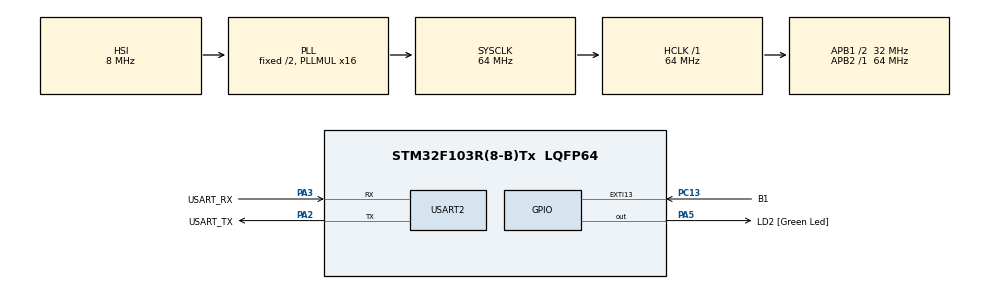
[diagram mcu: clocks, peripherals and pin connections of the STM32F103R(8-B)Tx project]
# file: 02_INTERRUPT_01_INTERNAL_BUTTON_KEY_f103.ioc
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Mcu.Family=STM32F1
Mcu.Name=STM32F103R(8-B)Tx
Mcu.Package=LQFP64
NVIC.EXTI15_10_IRQn=true\:0\:0\:false\:false\:true\:true\:true\:true
NVIC.PriorityGroup=NVIC_PRIORITYGROUP_4
PA13.GPIO_Label=TMS
PA13.Mode=Serial_Wire
PA13.Signal=SYS_JTMS-SWDIO
PA14.GPIO_Label=TCK
PA14.Mode=Serial_Wire
PA14.Signal=SYS_JTCK-SWCLK
PA2.GPIO_Label=USART_TX
PA2.GPIO_Mode=GPIO_MODE_AF_PP
PA2.GPIO_PuPd=GPIO_NOPULL
PA2.GPIO_Speed=GPIO_SPEED_FREQ_LOW
PA2.Mode=Asynchronous
PA2.Signal=USART2_TX
PA3.GPIO_Label=USART_RX
PA3.GPIO_Mode=GPIO_MODE_AF_PP
PA3.GPIO_PuPd=GPIO_NOPULL
PA3.GPIO_Speed=GPIO_SPEED_FREQ_LOW
PA3.Mode=Asynchronous
PA3.Signal=USART2_RX
PA5.GPIO_Label=LD2 [Green Led]
PA5.GPIO_ModeDefaultOutputPP=GPIO_MODE_OUTPUT_PP
PA5.GPIO_PuPd=GPIO_NOPULL
PA5.GPIO_Speed=GPIO_SPEED_FREQ_LOW
PA5.Signal=GPIO_Output
PB3.GPIO_Label=SWO
PB3.Signal=SYS_JTDO-TRACESWO
PC13-TAMPER-RTC.GPIO_Label=B1
PC13-TAMPER-RTC.Signal=GPXTI13
PC14-OSC32_IN.Mode=LSE-External-Oscillator
PC14-OSC32_IN.Signal=RCC_OSC32_IN
PC15-OSC32_OUT.Mode=LSE-External-Oscillator
PC15-OSC32_OUT.Signal=RCC_OSC32_OUT
PD0-OSC_IN.Mode=HSE-External-Clock-Source
PD0-OSC_IN.Signal=RCC_OSC_IN
PD1-OSC_OUT.Mode=HSE-External-Clock-Source
PD1-OSC_OUT.Signal=RCC_OSC_OUT
ProjectManager.HeapSize=0x200
ProjectManager.StackSize=0x400
ProjectManager.TargetToolchain=STM32CubeIDE
RCC.AHBFreq_Value=64000000
RCC.APB1CLKDivider=RCC_HCLK_DIV2
RCC.APB1Freq_Value=32000000
RCC.APB1TimFreq_Value=64000000
RCC.APB2Freq_Value=64000000
RCC.APB2TimFreq_Value=64000000
RCC.HCLKFreq_Value=64000000
RCC.PLLMUL=RCC_PLL_MUL16
RCC.RTCClockSelection=RCC_RTCCLKSOURCE_LSE
RCC.SYSCLKFreq_VALUE=64000000
RCC.SYSCLKSource=RCC_SYSCLKSOURCE_PLLCLK
RCC.USBFreq_Value=64000000
USART2.VirtualMode=VM_ASYNC
board=NUCLEO-F103RB

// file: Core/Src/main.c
/* USER CODE BEGIN Header */
/**
  ******************************************************************************
  * @file           : main.c
  * @brief          : Main program body
  ******************************************************************************
  * @attention
  *
  * Copyright (c) 2022 STMicroelectronics.
  * All rights reserved.
  *
  * This software is licensed under terms that can be found in the LICENSE file
  * in the root directory of this software component.
  * If no LICENSE file comes with this software, it is provided AS-IS.
  *
  ******************************************************************************
  */
/* USER CODE END Header */
#include "main.h"

/* USER CODE BEGIN Includes */
#include <stdio.h>

/* USER CODE END Includes */

UART_HandleTypeDef huart2;

void SystemClock_Config(void);
static void MX_GPIO_Init(void);
static void MX_USART2_UART_Init(void);

/* USER CODE BEGIN 0 */
int __io_putchar(int ch)
{
 if ( ch == '\n' )
	 HAL_UART_Transmit(&huart2, (uint8_t*)&"\r", 1, HAL_MAX_DELAY);
 HAL_UART_Transmit(&huart2, (uint8_t*)&ch, 1, HAL_MAX_DELAY);
 return ch;
}

int __io_getchar(void)
{
	uint8_t ch;

	while( HAL_OK != HAL_UART_Receive(&huart2, &ch, 1, HAL_MAX_DELAY) )
	{
		;
	}
	return ch;
}

/* USER CODE END 0 */

int main(void)
{

  /* MCU Configuration--------------------------------------------------------*/

  /* Reset of all peripherals, Initializes the Flash interface and the Systick. */
  HAL_Init();

  /* Configure the system clock */
  SystemClock_Config();

  /* Initialize all configured peripherals */
  MX_GPIO_Init();
  MX_USART2_UART_Init();
  /* USER CODE BEGIN 2 */
  printf("\n\n\nHELLO, STM32\n");

  //HAL_NVIC_EnableIRQ(40); // using NVIC->ISER
  //HAL_NVIC_DisableIRQ(40); // using NVIC->ICER
  //printf("NVIC->ISER[%d]=0x%08x\n", 40, NVIC->ISER[1]);
  /* USER CODE END 2 */

  /* Infinite loop */
  /* USER CODE BEGIN WHILE */
  while (1)
  {
    if(HAL_GPIO_ReadPin(B1_GPIO_Port, B1_Pin))
    {
    	// printf("HIGH level\n");
    }else{
    	// printf("LOW level\n");
    }

  	// B1 button key interrupt by software trigger
  	if (0)
  	{
			unsigned long* NVIC_STIR_INTID= (unsigned long*)0xE000EF00;
			*NVIC_STIR_INTID= 40;
	  	HAL_Delay(1000);
  	}

  	// B1 button key interrupt by set pend register
  	if (1)
  	{
			unsigned long* NVIC_ISPR= (unsigned long*)0xE000E204;
			*NVIC_ISPR= 0x100;
	  	HAL_Delay(1000);
  	}
    /* USER CODE END WHILE */

  }
}

void SystemClock_Config(void)
{
  RCC_OscInitTypeDef RCC_OscInitStruct = {0};
  RCC_ClkInitTypeDef RCC_ClkInitStruct = {0};

  /** Initializes the RCC Oscillators according to the specified parameters
  * in the RCC_OscInitTypeDef structure.
  */
  RCC_OscInitStruct.OscillatorType = RCC_OSCILLATORTYPE_HSI;
  RCC_OscInitStruct.HSIState = RCC_HSI_ON;
  RCC_OscInitStruct.HSICalibrationValue = RCC_HSICALIBRATION_DEFAULT;
  RCC_OscInitStruct.PLL.PLLState = RCC_PLL_ON;
  RCC_OscInitStruct.PLL.PLLSource = RCC_PLLSOURCE_HSI_DIV2;
  RCC_OscInitStruct.PLL.PLLMUL = RCC_PLL_MUL16;
  if (HAL_RCC_OscConfig(&RCC_OscInitStruct) != HAL_OK)
  {
    Error_Handler();
  }

  /** Initializes the CPU, AHB and APB buses clocks
  */
  RCC_ClkInitStruct.ClockType = RCC_CLOCKTYPE_HCLK|RCC_CLOCKTYPE_SYSCLK
                              |RCC_CLOCKTYPE_PCLK1|RCC_CLOCKTYPE_PCLK2;
  RCC_ClkInitStruct.SYSCLKSource = RCC_SYSCLKSOURCE_PLLCLK;
  RCC_ClkInitStruct.AHBCLKDivider = RCC_SYSCLK_DIV1;
  RCC_ClkInitStruct.APB1CLKDivider = RCC_HCLK_DIV2;
  RCC_ClkInitStruct.APB2CLKDivider = RCC_HCLK_DIV1;

  if (HAL_RCC_ClockConfig(&RCC_ClkInitStruct, FLASH_LATENCY_2) != HAL_OK)
  {
    Error_Handler();
  }
}

static void MX_USART2_UART_Init(void)
{

  huart2.Instance = USART2;
  huart2.Init.BaudRate = 115200;
  huart2.Init.WordLength = UART_WORDLENGTH_8B;
  huart2.Init.StopBits = UART_STOPBITS_1;
  huart2.Init.Parity = UART_PARITY_NONE;
  huart2.Init.Mode = UART_MODE_TX_RX;
  huart2.Init.HwFlowCtl = UART_HWCONTROL_NONE;
  huart2.Init.OverSampling = UART_OVERSAMPLING_16;
  if (HAL_UART_Init(&huart2) != HAL_OK)
  {
    Error_Handler();
  }

}

static void MX_GPIO_Init(void)
{
  GPIO_InitTypeDef GPIO_InitStruct = {0};

  /* GPIO Ports Clock Enable */
  __HAL_RCC_GPIOC_CLK_ENABLE();
  __HAL_RCC_GPIOD_CLK_ENABLE();
  __HAL_RCC_GPIOA_CLK_ENABLE();
  __HAL_RCC_GPIOB_CLK_ENABLE();

  /*Configure GPIO pin Output Level */
  HAL_GPIO_WritePin(LD2_GPIO_Port, LD2_Pin, GPIO_PIN_RESET);

  /*Configure GPIO pin : B1_Pin */
  GPIO_InitStruct.Pin = B1_Pin;
  GPIO_InitStruct.Mode = GPIO_MODE_IT_RISING;
  GPIO_InitStruct.Pull = GPIO_NOPULL;
  HAL_GPIO_Init(B1_GPIO_Port, &GPIO_InitStruct);

  /*Configure GPIO pin : LD2_Pin */
  GPIO_InitStruct.Pin = LD2_Pin;
  GPIO_InitStruct.Mode = GPIO_MODE_OUTPUT_PP;
  GPIO_InitStruct.Pull = GPIO_NOPULL;
  GPIO_InitStruct.Speed = GPIO_SPEED_FREQ_LOW;
  HAL_GPIO_Init(LD2_GPIO_Port, &GPIO_InitStruct);

  /* EXTI interrupt init*/
  HAL_NVIC_SetPriority(EXTI15_10_IRQn, 0, 0);
  HAL_NVIC_EnableIRQ(EXTI15_10_IRQn);

}

void Error_Handler(void)
{
  __disable_irq();
  while (1)
  {
  }
}
